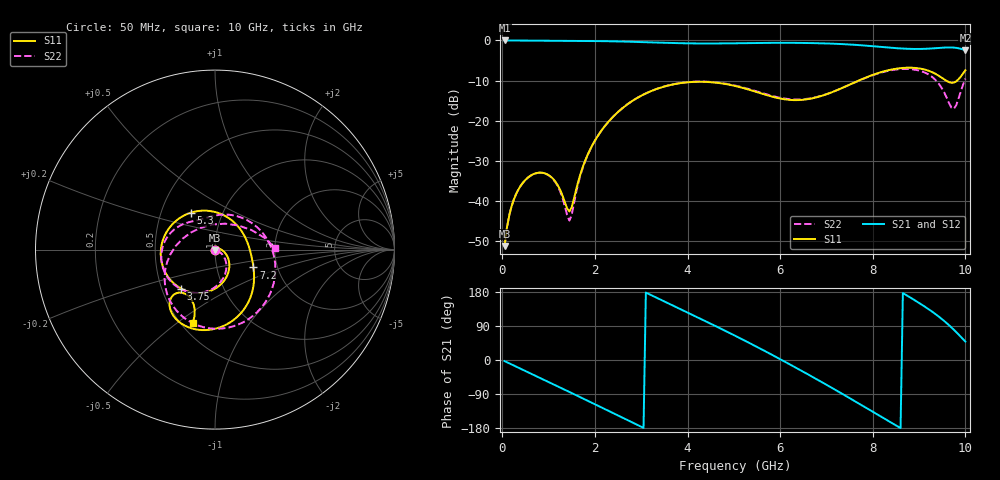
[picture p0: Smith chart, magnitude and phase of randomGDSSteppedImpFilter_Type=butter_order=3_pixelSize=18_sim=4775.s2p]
! freq	dB(S11)	phase(S11)	dB(S12)	phase(S12)
!  dB(S21)	phase(S21)	dB(S22)	phase(S22)
!S-par simulation data
#  GHz  S  DB  R 50
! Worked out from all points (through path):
!   200 points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, 50 MHz to 10 GHz, reference 50 ohm
!   highest |S21| = -0.01 dB at 50 MHz (marker M1); lowest = -2.5 dB at 10 GHz (marker M2)
!   group delay of S21, straight-line fit = 179 ps
!   lowest |S11| = -51.2 dB at 50 MHz (marker M3), VSWR 1.01, Z = 50.1 - j0.264 ohm
!   |S11| at or under -10 dB: start of sweep to 7.696 GHz; 9.583 GHz to 9.821 GHz (238.5 MHz wide, 2.46 % of centre)
!   |S22| runs from -51.2 to -7.1 dB; largest |S21 - S12| = 0
!   S11 on the Smith chart (normalised r, x): 50 MHz: 1.00, -0.01; 3.75 GHz: 0.63, -0.30; 5.3 GHz: 0.71, +0.31; 7.2 GHz: 1.51, -0.32; 10 GHz: 0.57, -0.57
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0.05  -51.17 -72.6  -0.01 -3.0  -0.01 -3.0  -51.25 -70.0
0.2  -41.35 -96.8  -0.02 -11.7  -0.02 -11.7  -41.30 -94.8
0.5  -34.72 -121.9  -0.04 -29.1  -0.04 -29.1  -34.74 -115.8
1.05  -33.96 -164.2  -0.07 -61.0  -0.07 -61.0  -34.03 -142.1
1.45  -42.57 99.2  -0.10 -84.4  -0.10 -84.4  -44.88 -90.1
1.75  -31.15 7.3  -0.12 -102.0  -0.12 -102.0  -31.33 -28.3
2.1  -23.13 -24.1  -0.17 -122.7  -0.17 -122.7  -23.15 -40.6
2.65  -16.37 -61.7  -0.29 -155.4  -0.29 -155.4  -16.35 -69.2
3.4  -11.83 -109.2  -0.56 160.2  -0.56 160.2  -11.81 -110.4
3.75  -10.82 -131.0  -0.67 139.7  -0.67 139.7  -10.79 -129.3
4.4  -10.33 -172.2  -0.77 101.7  -0.77 101.7  -10.27 -163.6
5.05  -11.41 142.7  -0.71 62.6  -0.71 62.6  -11.30 163.9
5.3  -12.18 123.4  -0.67 47.1  -0.67 47.1  -12.04 152.2
6  -14.48 62.2  -0.59 2.2  -0.59 2.2  -14.28 122.9
6.7  -14.41 3.9  -0.67 -44.7  -0.67 -44.7  -14.32 86.6
7.2  -12.53 -24.9  -0.84 -79.3  -0.84 -79.3  -12.52 46.5
7.7  -9.98 -49.5  -1.17 -115.0  -1.17 -115.0  -10.01 1.1
8.35  -7.39 -83.4  -1.79 -161.7  -1.79 -161.7  -7.53 -55.8
8.85  -6.80 -109.7  -2.12 161.9  -2.12 161.9  -7.19 -98.5
9.35  -8.30 -131.0  -1.94 121.5  -1.94 121.5  -9.80 -150.3
9.75  -10.50 -119.3  -1.79 79.9  -1.79 79.9  -17.05 95.5
10  -7.44 -106.8  -2.48 48.6  -2.48 48.6  -9.52 2.0
